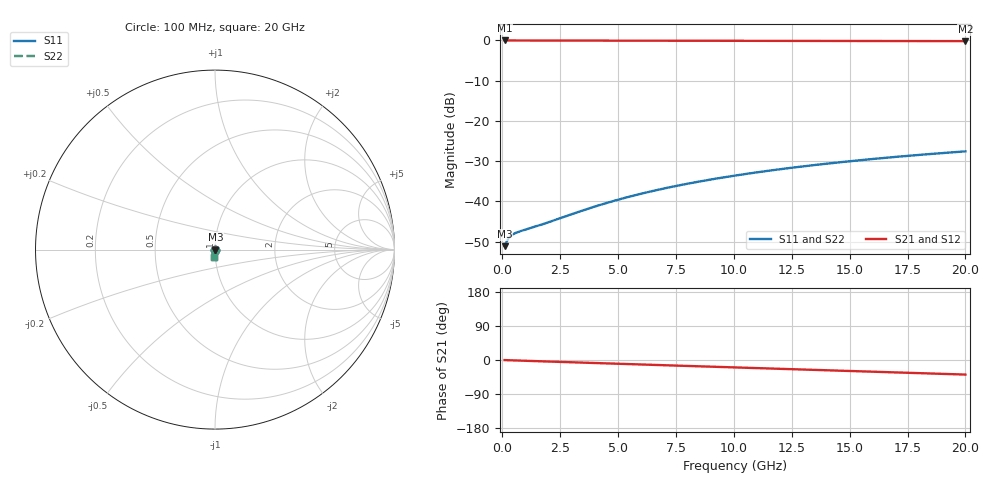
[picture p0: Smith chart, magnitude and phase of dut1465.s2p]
! Touchstone file exported from HFSS 2026.1.0
!  File:  C:/ffzhzh/LocalFiles/Ansys_Project_Files/temp_train_BSMRDL_1465_1783180981_18472.aedt
!  Generated:  12:04:07 AM Jul  5, 2026
!  Design:  BSMRDL
!  Project:  temp_train_BSMRDL_1465_1783180981_18472
! Variables:
!  h_bsmrdl = 5.55um
!  h_ox = 20um
!  h_rdl = 5um
!  h_sub = 80um
!  h_tmrdl = 5um
!  h_tsv = 80um
!  h_via = 3um
!  l_bsmrdl = 698.69um
!  l_sub = 1098.69um
!  l_tmrdl = 200um
!  m_sub = 200um
!  pitch = 22.38um
!  r_tsv = 6um
!  s_tmrdl = 10um
!  w_bsmrdl = 18.07um
!  w_sub = 500um
!  w_tmrdl = 12um
!  x_tsv_center1 = 206um
!  x_tsv_center2 = 922.76um
!  x_tsv_center3 = 1134.76um
!  x_tsv_center4 = 1851.52um
!  x_tsv_center5 = 2063.52um
!  x_tsv_center6 = 2780.28um
# GHz S MA R 50.000000
! Terminal data exported
! Port[1] = BSM_RDL1_1_T1
! Port[2] = BSM_RDL1_1_T2
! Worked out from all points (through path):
!   200 points, 100 MHz to 20 GHz, reference 50 ohm
!   highest |S21| = -0.02 dB at 100 MHz (marker M1); lowest = -0.2 dB at 20 GHz (marker M2)
!   group delay of S21, straight-line fit = 5.31 ps
!   lowest |S11| = -51.1 dB at 100 MHz (marker M3), VSWR 1.01, Z = 50.3 + j0.0523 ohm
!   |S11| at or under -10 dB: start of sweep to end of sweep
!   |S22| runs from -51.1 to -27.5 dB; largest |S21 - S12| = 2.7e-15
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0.1  0.002779 10.8  0.9973 -0.2  0.9973 -0.2  0.002779 10.8
! Gamma 0 0 0 0
! Port Impedance 50 0 50 0
0.2  0.003216 13.7  0.9969 -0.5  0.9969 -0.5  0.003216 13.8
0.3  0.003562 12.7  0.9965 -0.7  0.9965 -0.7  0.003563 12.8
0.4  0.003797 10.8  0.9963 -0.9  0.9963 -0.9  0.003799 10.9
0.5  0.003962 9.0  0.9961 -1.1  0.9961 -1.1  0.003964 9.0
0.6  0.004086 7.3  0.9959 -1.3  0.9959 -1.3  0.00409 7.3
0.8  0.004283 4.6  0.9957 -1.7  0.9957 -1.7  0.004288 4.6
1.8  0.005271 -5.2  0.9947 -3.7  0.9947 -3.7  0.005279 -5.2
3.5  0.007762 -21.6  0.9924 -7.0  0.9924 -7.0  0.007784 -21.6
4.3  0.00918 -29.1  0.9913 -8.6  0.9913 -8.6  0.009212 -29.0
5.1  0.01069 -36.1  0.9903 -10.1  0.9903 -10.1  0.01073 -35.9
5.9  0.01227 -42.4  0.9893 -11.7  0.9893 -11.7  0.01232 -42.2
6.8  0.01409 -48.8  0.9883 -13.4  0.9883 -13.4  0.01416 -48.6
7.6  0.01575 -53.9  0.9875 -14.9  0.9875 -14.9  0.01583 -53.6
8.4  0.01742 -58.5  0.9867 -16.5  0.9867 -16.5  0.01752 -58.2
10.1  0.02103 -67.1  0.9852 -19.7  0.9852 -19.7  0.02116 -66.7
11.7  0.02446 -74.0  0.9839 -22.7  0.9839 -22.7  0.02461 -73.5
13.4  0.02811 -80.5  0.9826 -26.0  0.9826 -26.0  0.02829 -79.9
15  0.03152 -86.0  0.9814 -29.0  0.9814 -29.0  0.03173 -85.3
16.7  0.0351 -91.4  0.9802 -32.2  0.9802 -32.2  0.03534 -90.7
18.3  0.0384 -96.1  0.979 -35.3  0.979 -35.3  0.03867 -95.3
20  0.04181 -100.9  0.9778 -38.5  0.9778 -38.5  0.04211 -100.0
